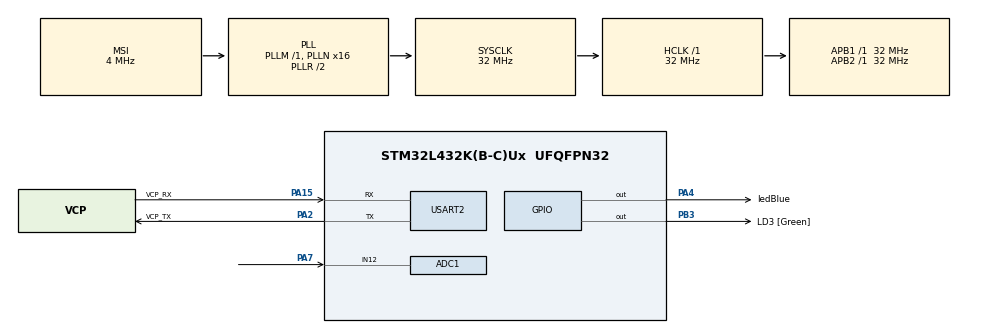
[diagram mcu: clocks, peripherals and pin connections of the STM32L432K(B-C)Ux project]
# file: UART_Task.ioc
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ADC1.Channel-2\#ChannelRegularConversion=ADC_CHANNEL_12
ADC1.DataAlign=ADC_DATAALIGN_RIGHT
ADC1.NbrOfConversionFlag=1
ADC1.OffsetNumber-2\#ChannelRegularConversion=ADC_OFFSET_NONE
ADC1.Rank-2\#ChannelRegularConversion=1
ADC1.SamplingTime-2\#ChannelRegularConversion=ADC_SAMPLETIME_2CYCLES_5
ADC1.master=1
Mcu.Family=STM32L4
Mcu.Name=STM32L432K(B-C)Ux
Mcu.Package=UFQFPN32
NVIC.ADC1_IRQn=true\:0\:0\:false\:false\:true\:true\:true\:true
NVIC.PriorityGroup=NVIC_PRIORITYGROUP_4
NVIC.USART2_IRQn=true\:0\:0\:false\:false\:true\:true\:true\:true
PA0.GPIO_Label=MCO [High speed clock in]
PA0.Mode=HSE-External-Clock-Source-for-LittleOrca
PA0.Signal=RCC_CK_IN
PA13\ (JTMS-SWDIO).GPIO_Label=SWDIO
PA13\ (JTMS-SWDIO).Mode=Serial_Wire
PA13\ (JTMS-SWDIO).Signal=SYS_JTMS-SWDIO
PA14\ (JTCK-SWCLK).GPIO_Label=SWCLK
PA14\ (JTCK-SWCLK).Mode=Serial_Wire
PA14\ (JTCK-SWCLK).Signal=SYS_JTCK-SWCLK
PA15\ (JTDI).GPIO_Label=VCP_RX
PA15\ (JTDI).Mode=Asynchronous
PA15\ (JTDI).Signal=USART2_RX
PA2.GPIO_Label=VCP_TX
PA2.Mode=Asynchronous
PA2.Signal=USART2_TX
PA4.GPIO_Label=ledBlue
PA4.PinState=GPIO_PIN_SET
PA4.Signal=GPIO_Output
PA7.Signal=ADCx_IN12
PB3\ (JTDO-TRACESWO).GPIO_Label=LD3 [Green]
PB3\ (JTDO-TRACESWO).Signal=GPIO_Output
PC14-OSC32_IN\ (PC14).Mode=LSE-External-Oscillator
PC14-OSC32_IN\ (PC14).Signal=RCC_OSC32_IN
PC15-OSC32_OUT\ (PC15).Mode=LSE-External-Oscillator
PC15-OSC32_OUT\ (PC15).Signal=RCC_OSC32_OUT
ProjectManager.HeapSize=0x200
ProjectManager.StackSize=0x400
ProjectManager.TargetToolchain=STM32CubeIDE
RCC.ADCFreq_Value=32000000
RCC.AHBFreq_Value=32000000
RCC.APB1Freq_Value=32000000
RCC.APB1TimFreq_Value=32000000
RCC.APB2Freq_Value=32000000
RCC.APB2TimFreq_Value=32000000
RCC.CortexFreq_Value=32000000
RCC.HCLKFreq_Value=32000000
RCC.HSE_VALUE=8000000
RCC.HSI16_VALUE=16000000
RCC.HSI48_VALUE=48000000
RCC.HSI_VALUE=16000000
RCC.MSI_VALUE=4000000
RCC.PLLMUL=RCC_PLLMUL_4
RCC.PLLN=16
RCC.PLLSAI1N=16
RCC.SYSCLKFreq_VALUE=32000000
RCC.SYSCLKSource=RCC_SYSCLKSOURCE_PLLCLK
RCC.USBFreq_Value=32000000
RCC.VCOOutputFreq_Value=64000000
SH.ADCx_IN12.0=ADC1_IN12,IN12-Single-Ended
USART2.VirtualMode-Asynchronous=VM_ASYNC
board=NUCLEO-L432KC

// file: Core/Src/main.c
/* USER CODE BEGIN Header */
/**
  ******************************************************************************
  * @file           : main.c
  * @brief          : Main program body
  ******************************************************************************
  * @attention
  *
  * Copyright (c) 2022 STMicroelectronics.
  * All rights reserved.
  *
  * This software is licensed under terms that can be found in the LICENSE file
  * in the root directory of this software component.
  * If no LICENSE file comes with this software, it is provided AS-IS.
  *
  ******************************************************************************
  */
/* USER CODE END Header */
#include "main.h"

/* USER CODE BEGIN Includes */
#include <stdbool.h>
#include <string.h>
#include <stdio.h>

#include "uart_custom.h"

/* USER CODE END Includes */

/* USER CODE BEGIN PD */
#define NB 5
/* USER CODE END PD */

ADC_HandleTypeDef hadc1;

UART_HandleTypeDef huart2;

void SystemClock_Config(void);
static void MX_GPIO_Init(void);
static void MX_USART2_UART_Init(void);
static void MX_ADC1_Init(void);

/* USER CODE BEGIN 0 */

char *errorMsg = "no valid message\n";

bool converted = false; //adc conversion complete
uint16_t adcValue;

uint8_t Rx_data[6];  //  creating a buffer of 10 bytes
uint8_t data[2];
bool newData = false; //new data was received

//UART interrupt callback function
void HAL_UART_RxCpltCallback(UART_HandleTypeDef *huart)
{
  HAL_UART_Receive_IT(&huart2, Rx_data, 6);
  HAL_GPIO_WritePin(GPIOB, GPIO_PIN_3, 1); //turns green led on for visuals
  newData = true; //new data was received
}

//ADC interrupt callback function
void HAL_ADC_ConvCpltCallback(ADC_HandleTypeDef *hadc)
{
  converted = true;
  adcValue = HAL_ADC_GetValue(&hadc1);
  HAL_ADC_Stop_IT(&hadc1);
}

/* USER CODE END 0 */

int main(void)
{

  /* MCU Configuration--------------------------------------------------------*/

  /* Reset of all peripherals, Initializes the Flash interface and the Systick. */
  HAL_Init();

  /* Configure the system clock */
  SystemClock_Config();

  /* Initialize all configured peripherals */
  MX_GPIO_Init();
  MX_USART2_UART_Init();
  MX_ADC1_Init();
  /* USER CODE BEGIN 2 */

  HAL_UART_Receive_IT (&huart2, Rx_data, 6);

  /* USER CODE END 2 */

  /* Infinite loop */
  /* USER CODE BEGIN WHILE */
  while (1)
  {
	  if(newData){ //new UART data was received
		  if(data_decode(Rx_data, data, &huart2) != 0){ //calls the decode function
			  //if the decode function returns and error send the error message
			  if (HAL_UART_Transmit(&huart2, (uint8_t *)errorMsg, strlen(errorMsg), 1000) == HAL_ERROR)
				  Error_Handler();
		  }

		  newData = false;
	  }

	  HAL_GPIO_WritePin(GPIOB, GPIO_PIN_3, 0); //turn green led off

    /* USER CODE END WHILE */

  }
}

void SystemClock_Config(void)
{
  RCC_OscInitTypeDef RCC_OscInitStruct = {0};
  RCC_ClkInitTypeDef RCC_ClkInitStruct = {0};

  /** Configure the main internal regulator output voltage
  */
  if (HAL_PWREx_ControlVoltageScaling(PWR_REGULATOR_VOLTAGE_SCALE1) != HAL_OK)
  {
    Error_Handler();
  }

  /** Configure LSE Drive Capability
  */
  HAL_PWR_EnableBkUpAccess();
  __HAL_RCC_LSEDRIVE_CONFIG(RCC_LSEDRIVE_LOW);

  /** Initializes the RCC Oscillators according to the specified parameters
  * in the RCC_OscInitTypeDef structure.
  */
  RCC_OscInitStruct.OscillatorType = RCC_OSCILLATORTYPE_LSE|RCC_OSCILLATORTYPE_MSI;
  RCC_OscInitStruct.LSEState = RCC_LSE_ON;
  RCC_OscInitStruct.MSIState = RCC_MSI_ON;
  RCC_OscInitStruct.MSICalibrationValue = 0;
  RCC_OscInitStruct.MSIClockRange = RCC_MSIRANGE_6;
  RCC_OscInitStruct.PLL.PLLState = RCC_PLL_ON;
  RCC_OscInitStruct.PLL.PLLSource = RCC_PLLSOURCE_MSI;
  RCC_OscInitStruct.PLL.PLLM = 1;
  RCC_OscInitStruct.PLL.PLLN = 16;
  RCC_OscInitStruct.PLL.PLLP = RCC_PLLP_DIV7;
  RCC_OscInitStruct.PLL.PLLQ = RCC_PLLQ_DIV2;
  RCC_OscInitStruct.PLL.PLLR = RCC_PLLR_DIV2;
  if (HAL_RCC_OscConfig(&RCC_OscInitStruct) != HAL_OK)
  {
    Error_Handler();
  }

  /** Initializes the CPU, AHB and APB buses clocks
  */
  RCC_ClkInitStruct.ClockType = RCC_CLOCKTYPE_HCLK|RCC_CLOCKTYPE_SYSCLK
                              |RCC_CLOCKTYPE_PCLK1|RCC_CLOCKTYPE_PCLK2;
  RCC_ClkInitStruct.SYSCLKSource = RCC_SYSCLKSOURCE_PLLCLK;
  RCC_ClkInitStruct.AHBCLKDivider = RCC_SYSCLK_DIV1;
  RCC_ClkInitStruct.APB1CLKDivider = RCC_HCLK_DIV1;
  RCC_ClkInitStruct.APB2CLKDivider = RCC_HCLK_DIV1;

  if (HAL_RCC_ClockConfig(&RCC_ClkInitStruct, FLASH_LATENCY_1) != HAL_OK)
  {
    Error_Handler();
  }

  /** Enable MSI Auto calibration
  */
  HAL_RCCEx_EnableMSIPLLMode();
}

static void MX_ADC1_Init(void)
{

  ADC_ChannelConfTypeDef sConfig = {0};

  /** Common config
  */
  hadc1.Instance = ADC1;
  hadc1.Init.ClockPrescaler = ADC_CLOCK_ASYNC_DIV1;
  hadc1.Init.Resolution = ADC_RESOLUTION_12B;
  hadc1.Init.DataAlign = ADC_DATAALIGN_RIGHT;
  hadc1.Init.ScanConvMode = ADC_SCAN_DISABLE;
  hadc1.Init.EOCSelection = ADC_EOC_SINGLE_CONV;
  hadc1.Init.LowPowerAutoWait = DISABLE;
  hadc1.Init.ContinuousConvMode = DISABLE;
  hadc1.Init.NbrOfConversion = 1;
  hadc1.Init.DiscontinuousConvMode = DISABLE;
  hadc1.Init.ExternalTrigConv = ADC_SOFTWARE_START;
  hadc1.Init.ExternalTrigConvEdge = ADC_EXTERNALTRIGCONVEDGE_NONE;
  hadc1.Init.DMAContinuousRequests = DISABLE;
  hadc1.Init.Overrun = ADC_OVR_DATA_PRESERVED;
  hadc1.Init.OversamplingMode = DISABLE;
  if (HAL_ADC_Init(&hadc1) != HAL_OK)
  {
    Error_Handler();
  }

  /** Configure Regular Channel
  */
  sConfig.Channel = ADC_CHANNEL_12;
  sConfig.Rank = ADC_REGULAR_RANK_1;
  sConfig.SamplingTime = ADC_SAMPLETIME_2CYCLES_5;
  sConfig.SingleDiff = ADC_SINGLE_ENDED;
  sConfig.OffsetNumber = ADC_OFFSET_NONE;
  sConfig.Offset = 0;
  if (HAL_ADC_ConfigChannel(&hadc1, &sConfig) != HAL_OK)
  {
    Error_Handler();
  }

}

static void MX_USART2_UART_Init(void)
{

  huart2.Instance = USART2;
  huart2.Init.BaudRate = 115200;
  huart2.Init.WordLength = UART_WORDLENGTH_8B;
  huart2.Init.StopBits = UART_STOPBITS_1;
  huart2.Init.Parity = UART_PARITY_NONE;
  huart2.Init.Mode = UART_MODE_TX_RX;
  huart2.Init.HwFlowCtl = UART_HWCONTROL_NONE;
  huart2.Init.OverSampling = UART_OVERSAMPLING_16;
  huart2.Init.OneBitSampling = UART_ONE_BIT_SAMPLE_DISABLE;
  huart2.AdvancedInit.AdvFeatureInit = UART_ADVFEATURE_NO_INIT;
  if (HAL_UART_Init(&huart2) != HAL_OK)
  {
    Error_Handler();
  }

}

static void MX_GPIO_Init(void)
{
  GPIO_InitTypeDef GPIO_InitStruct = {0};

  /* GPIO Ports Clock Enable */
  __HAL_RCC_GPIOC_CLK_ENABLE();
  __HAL_RCC_GPIOA_CLK_ENABLE();
  __HAL_RCC_GPIOB_CLK_ENABLE();

  /*Configure GPIO pin Output Level */
  HAL_GPIO_WritePin(ledBlue_GPIO_Port, ledBlue_Pin, GPIO_PIN_SET);

  /*Configure GPIO pin Output Level */
  HAL_GPIO_WritePin(LD3_GPIO_Port, LD3_Pin, GPIO_PIN_RESET);

  /*Configure GPIO pin : ledBlue_Pin */
  GPIO_InitStruct.Pin = ledBlue_Pin;
  GPIO_InitStruct.Mode = GPIO_MODE_OUTPUT_PP;
  GPIO_InitStruct.Pull = GPIO_NOPULL;
  GPIO_InitStruct.Speed = GPIO_SPEED_FREQ_LOW;
  HAL_GPIO_Init(ledBlue_GPIO_Port, &GPIO_InitStruct);

  /*Configure GPIO pin : LD3_Pin */
  GPIO_InitStruct.Pin = LD3_Pin;
  GPIO_InitStruct.Mode = GPIO_MODE_OUTPUT_PP;
  GPIO_InitStruct.Pull = GPIO_NOPULL;
  GPIO_InitStruct.Speed = GPIO_SPEED_FREQ_LOW;
  HAL_GPIO_Init(LD3_GPIO_Port, &GPIO_InitStruct);

}

void Error_Handler(void)
{
  __disable_irq();
  while (1)
  {
  }
}
